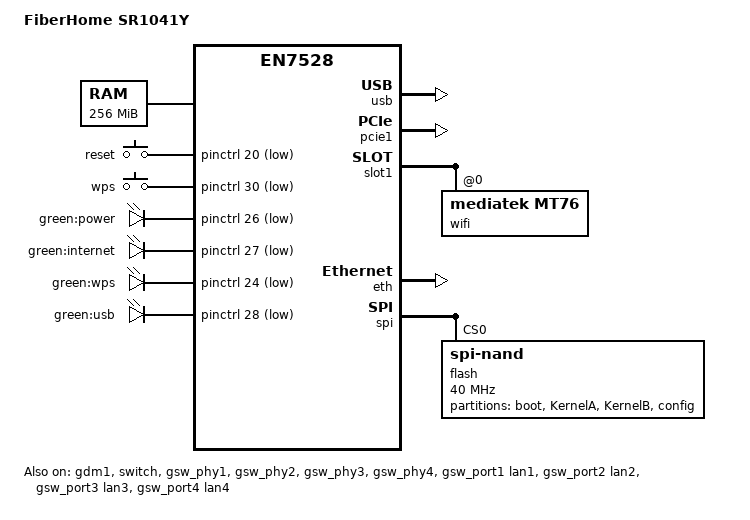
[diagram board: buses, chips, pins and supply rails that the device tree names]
// SPDX-License-Identifier: (GPL-2.0-only OR BSD-2-Clause)
/*
 * FiberHome SR1041Y (HW SR1041Y_R1A), sold by TM (Unifi, Malaysia).
 * GPON ONT + router: EN7561DU (EN7528 platform, "free bootbase" v1.1),
 * 256 MiB DDR3, Micron MT29F2G01 256 MiB SPI-NAND, 4x GbE, MT7915 DBDC
 * Wi-Fi 6, EN7571 xPON with an EN7570 laser driver.
 *
 * Flash keeps the stock layout; both kernel banks are UBI (vols ubi_kernel,
 * ubi_rootfs, ubi_fhapp, ubi_flagA, ubi_flagB):
 *   boot    0x0000000-0x0200000  free bootbase
 *   KernelA 0x0200000-0x2a00000  bank A (stock ubi.mtd=1)
 *   KernelB 0x2a00000-0x5200000  bank B (stock ubi.mtd=2)
 *   config  0x5200000-0x7500000  UBI: factory, userdata, reserved
 * The MACs and the Wi-Fi calibration live as files in the UBIFS "factory"
 * volume; the kernel attaches "config" read-only and preinit mounts
 * ubi:factory (see 79_sr1041y_factory).
 */

/dts-v1/;

#include "en7528.dtsi"

#include <dt-bindings/gpio/gpio.h>
#include <dt-bindings/input/input.h>
#include <dt-bindings/leds/common.h>

/ {
	model = "FiberHome SR1041Y";
	compatible = "fiberhome,sr1041y", "econet,en7528";

	memory@0 {
		device_type = "memory";
		reg = <0x00000000 0x10000000>;
	};

	/* stdout-path comes from the dtsi (serial0); only the RAM size differs */
	chosen {
		linux,usable-memory-range = <0x00020000 0x0efe0000>;
	};

	aliases {
		led-boot = &led_power;
		led-failsafe = &led_power;
		led-running = &led_power;
		led-upgrade = &led_power;
	};

	/*
	 * Pins from the stock FiberHome board driver (fhdrv_kdrv_board_impl.ko,
	 * hwcfg 0x10001003), checked one by one on a unit. The Wi-Fi LEDs are
	 * on the MT7915 (mt76-phy0 = 2.4 GHz, mt76-phy1 = 5 GHz).
	 */
	keys {
		compatible = "gpio-keys";

		reset {
			label = "reset";
			gpios = <&pinctrl 20 GPIO_ACTIVE_LOW>;
			linux,code = <KEY_RESTART>;
		};

		wps {
			label = "wps";
			gpios = <&pinctrl 30 GPIO_ACTIVE_LOW>;
			linux,code = <KEY_WPS_BUTTON>;
		};
	};

	leds {
		compatible = "gpio-leds";

		led_power: led-power {
			label = "green:power";
			gpios = <&pinctrl 26 GPIO_ACTIVE_LOW>;
			default-state = "on";
		};

		/* driven by alphawrt-linemon: on with the WAN, blinks on traffic */
		led-internet {
			label = "green:internet";
			gpios = <&pinctrl 27 GPIO_ACTIVE_LOW>;
		};

		led-wps {
			label = "green:wps";
			gpios = <&pinctrl 24 GPIO_ACTIVE_LOW>;
		};

		led-usb {
			label = "green:usb";
			gpios = <&pinctrl 28 GPIO_ACTIVE_LOW>;
		};
	};
};

/*
 * The free bootbase leaves the UART's XYD fractional divider set up for a
 * 7.3728 MHz base clock, not the 1.8432 MHz the dtsi assumes for U-Boot
 * boards: with the default the console turns to garbage at handover.
 */
&uart1 {
	clock-frequency = <7372800>;
};

&usb {
	status = "okay";
};

/*
 * One MT7915 (DBDC 2.4 + 5 GHz). The main function sits behind pcie1
 * (0001:01:00.0); the board also wires its second host interface (HIF2) to
 * pcie0, but on EN7528 mt7915e resets the SoC as soon as it binds through
 * HIF2. On the main link alone both bands come up fine (tested), so pcie0
 * stays disabled.
 */
&pcie1 {
	status = "okay";
};

&slot1 {
	status = "okay";

	wifi@0,0 {
		compatible = "mediatek,mt76";
		reg = <0x0000 0 0 0 0>;
		mediatek,eeprom-name = "mediatek/mt7915_eeprom_sr1041y.bin";
	};
};

&eth {
	status = "okay";
};

&gdm1 {
	status = "okay";
};

&switch {
	status = "okay";
};

/*
 * The dtsi leaves the internal GbE PHYs disabled, and muxes gpio30-37 to
 * their LEDs ("gbe-led"). This board has no port LEDs there: gpio30 is the
 * WPS button. Without the pinctrl state the PHY driver only logs an error.
 */
&gsw_phy1 {
	status = "okay";
	/delete-property/ pinctrl-names;
	/delete-property/ pinctrl-0;
};

&gsw_phy2 {
	status = "okay";
	/delete-property/ pinctrl-names;
	/delete-property/ pinctrl-0;
};

&gsw_phy3 {
	status = "okay";
	/delete-property/ pinctrl-names;
	/delete-property/ pinctrl-0;
};

&gsw_phy4 {
	status = "okay";
	/delete-property/ pinctrl-names;
	/delete-property/ pinctrl-0;
};

&gsw_port1 {
	label = "lan1";
	status = "okay";
};

&gsw_port2 {
	label = "lan2";
	status = "okay";
};

&gsw_port3 {
	label = "lan3";
	status = "okay";
};

&gsw_port4 {
	label = "lan4";
	status = "okay";
};

&spi {
	flash@0 {
		compatible = "spi-nand";
		reg = <0>;
		spi-max-frequency = <40000000>;
		spi-tx-bus-width = <1>;
		spi-rx-bus-width = <2>;
		econet,bmt;
		econet,bbt-table-size = <250>;

		partitions {
			compatible = "fixed-partitions";
			#address-cells = <1>;
			#size-cells = <1>;

			partition@0 {
				label = "boot";
				reg = <0x0 0x200000>;
				read-only;
			};

			partition@200000 {
				label = "KernelA";
				reg = <0x200000 0x2800000>;
			};

			/*
			 * AlphaWRT lives in bank B, in the stock bank format: the
			 * bootbase loads the kernel trx from UBI volume ID 0; the
			 * kernel attaches this UBI and mounts volume "rootfs".
			 * Bank A stays stock; its UBI is not attached at boot.
			 */
			partition@2a00000 {
				compatible = "linux,ubi";
				label = "KernelB";
				reg = <0x2a00000 0x2800000>;
			};

			/*
			 * Stock UBI (factory, userdata, reserved). The kernel
			 * attaches it, read-only because the partition is, so
			 * nothing can ever write to it.
			 */
			partition@5200000 {
				compatible = "linux,ubi";
				label = "config";
				reg = <0x5200000 0x2300000>;
				read-only;
			};
		};
	};
};
